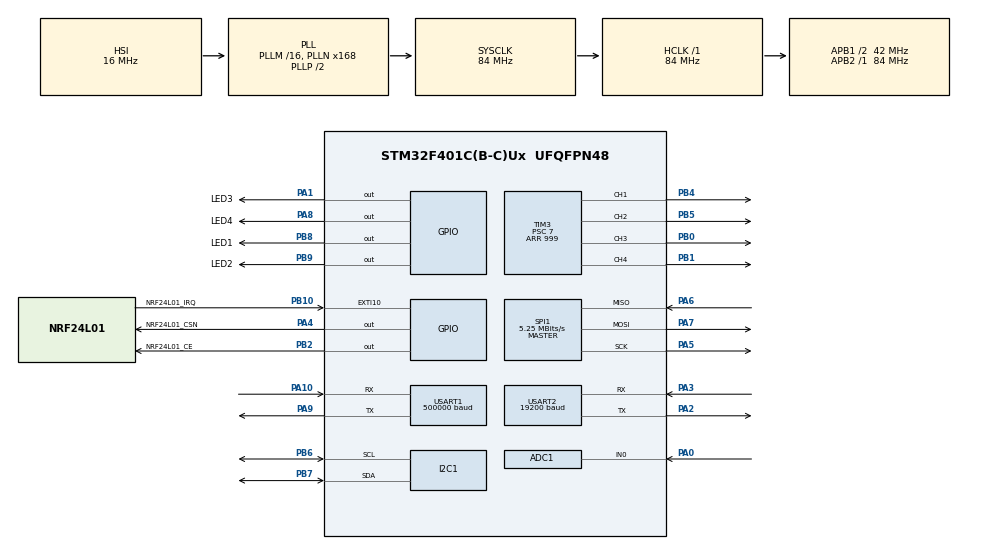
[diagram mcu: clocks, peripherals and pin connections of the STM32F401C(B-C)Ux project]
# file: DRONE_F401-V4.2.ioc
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ADC1.Channel-0\#ChannelRegularConversion=ADC_CHANNEL_0
ADC1.ContinuousConvMode=DISABLE
ADC1.NbrOfConversionFlag=1
ADC1.Rank-0\#ChannelRegularConversion=1
ADC1.SamplingTime-0\#ChannelRegularConversion=ADC_SAMPLETIME_15CYCLES
ADC1.ScanConvMode=DISABLE
ADC1.master=1
Dma.Request0=USART2_RX
Dma.USART2_RX.0.Direction=DMA_PERIPH_TO_MEMORY
Dma.USART2_RX.0.FIFOMode=DMA_FIFOMODE_DISABLE
Dma.USART2_RX.0.Instance=DMA1_Stream5
Dma.USART2_RX.0.MemDataAlignment=DMA_MDATAALIGN_BYTE
Dma.USART2_RX.0.MemInc=DMA_MINC_ENABLE
Dma.USART2_RX.0.Mode=DMA_NORMAL
Dma.USART2_RX.0.PeriphDataAlignment=DMA_PDATAALIGN_BYTE
Dma.USART2_RX.0.PeriphInc=DMA_PINC_DISABLE
Dma.USART2_RX.0.Priority=DMA_PRIORITY_LOW
I2C1.I2C_Mode=I2C_Fast
Mcu.Family=STM32F4
Mcu.Name=STM32F401C(B-C)Ux
Mcu.Package=UFQFPN48
NVIC.ADC_IRQn=true\:0\:0\:false\:false\:true\:true\:true\:true
NVIC.DMA1_Stream5_IRQn=true\:0\:0\:false\:false\:true\:false\:true\:true
NVIC.EXTI15_10_IRQn=true\:0\:0\:false\:false\:true\:true\:true\:true
NVIC.PriorityGroup=NVIC_PRIORITYGROUP_4
NVIC.TIM1_UP_TIM10_IRQn=true\:0\:0\:false\:false\:true\:true\:true\:true
NVIC.USART1_IRQn=true\:0\:0\:false\:false\:true\:true\:true\:true
NVIC.USART2_IRQn=true\:0\:0\:false\:false\:true\:true\:true\:true
PA0-WKUP.Signal=ADCx_IN0
PA1.GPIO_Label=LED3
PA1.Signal=GPIO_Output
PA10.Mode=Asynchronous
PA10.Signal=USART1_RX
PA13.Mode=Serial_Wire
PA13.Signal=SYS_JTMS-SWDIO
PA14.Mode=Serial_Wire
PA14.Signal=SYS_JTCK-SWCLK
PA2.Mode=Asynchronous
PA2.Signal=USART2_TX
PA3.Mode=Asynchronous
PA3.Signal=USART2_RX
PA4.GPIO_Label=NRF24L01_CSN
PA4.GPIO_Speed=GPIO_SPEED_FREQ_HIGH
PA4.PinState=GPIO_PIN_SET
PA4.Signal=GPIO_Output
PA5.Mode=Full_Duplex_Master
PA5.Signal=SPI1_SCK
PA6.Mode=Full_Duplex_Master
PA6.Signal=SPI1_MISO
PA7.Mode=Full_Duplex_Master
PA7.Signal=SPI1_MOSI
PA8.GPIO_Label=LED4
PA8.Signal=GPIO_Output
PA9.Mode=Asynchronous
PA9.Signal=USART1_TX
PB0.Signal=S_TIM3_CH3
PB1.Signal=S_TIM3_CH4
PB10.GPIO_Label=NRF24L01_IRQ
PB10.GPIO_ModeDefaultEXTI=GPIO_MODE_IT_FALLING
PB10.GPIO_PuPd=GPIO_PULLUP
PB10.Signal=GPXTI10
PB2.GPIO_Label=NRF24L01_CE
PB2.PinState=GPIO_PIN_SET
PB2.Signal=GPIO_Output
PB4.Signal=S_TIM3_CH1
PB5.Signal=S_TIM3_CH2
PB6.GPIO_Pu=GPIO_PULLUP
PB6.Mode=I2C
PB6.Signal=I2C1_SCL
PB7.GPIO_Pu=GPIO_PULLUP
PB7.Mode=I2C
PB7.Signal=I2C1_SDA
PB8.GPIO_Label=LED1
PB8.Signal=GPIO_Output
PB9.GPIO_Label=LED2
PB9.Signal=GPIO_Output
PH0\ -\ OSC_IN.Mode=HSE-External-Oscillator
PH0\ -\ OSC_IN.Signal=RCC_OSC_IN
PH1\ -\ OSC_OUT.Mode=HSE-External-Oscillator
PH1\ -\ OSC_OUT.Signal=RCC_OSC_OUT
ProjectManager.HeapSize=0x200
ProjectManager.StackSize=0x400
ProjectManager.TargetToolchain=MDK-ARM V5.32
RCC.48MHZClocksFreq_Value=42000000
RCC.AHBFreq_Value=84000000
RCC.APB1CLKDivider=RCC_HCLK_DIV2
RCC.APB1Freq_Value=42000000
RCC.APB1TimFreq_Value=84000000
RCC.APB2Freq_Value=84000000
RCC.APB2TimFreq_Value=84000000
RCC.CortexFreq_Value=84000000
RCC.HCLKFreq_Value=84000000
RCC.HSE_VALUE=25000000
RCC.HSI_VALUE=16000000
RCC.LSE_VALUE=32768
RCC.PLLN=168
RCC.SYSCLKFreq_VALUE=84000000
RCC.SYSCLKSource=RCC_SYSCLKSOURCE_PLLCLK
RCC.VCOOutputFreq_Value=168000000
SH.ADCx_IN0.0=ADC1_IN0,IN0
SH.S_TIM3_CH1.0=TIM3_CH1,PWM Generation1 CH1
SH.S_TIM3_CH2.0=TIM3_CH2,PWM Generation2 CH2
SH.S_TIM3_CH3.0=TIM3_CH3,PWM Generation3 CH3
SH.S_TIM3_CH4.0=TIM3_CH4,PWM Generation4 CH4
SPI1.BaudRatePrescaler=SPI_BAUDRATEPRESCALER_16
SPI1.CalculateBaudRate=5.25 MBits/s
SPI1.Direction=SPI_DIRECTION_2LINES
SPI1.Mode=SPI_MODE_MASTER
SPI1.VirtualType=VM_MASTER
TIM1.AutoReloadPreload=TIM_AUTORELOAD_PRELOAD_ENABLE
TIM1.Period=60
TIM1.Prescaler=8399
TIM3.AutoReloadPreload=TIM_AUTORELOAD_PRELOAD_ENABLE
TIM3.Channel-PWM\ Generation1\ CH1=TIM_CHANNEL_1
TIM3.Channel-PWM\ Generation2\ CH2=TIM_CHANNEL_2
TIM3.Channel-PWM\ Generation3\ CH3=TIM_CHANNEL_3
TIM3.Channel-PWM\ Generation4\ CH4=TIM_CHANNEL_4
TIM3.Period=999
TIM3.Prescaler=7
TIM3.Pulse-PWM\ Generation1\ CH1=0
USART1.BaudRate=500000
USART1.VirtualMode=VM_ASYNC
USART2.BaudRate=19200
USART2.VirtualMode=VM_ASYNC
VP_TIM1_VS_ClockSourceINT.Mode=Internal
VP_TIM3_VS_ClockSourceINT.Mode=Internal
board=custom

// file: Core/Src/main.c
/* USER CODE BEGIN Header */
/**
  ******************************************************************************
  * @file           : main.c
  * @brief          : Main program body
  ******************************************************************************
  * @attention
  *
  * <h2><center>&copy; Copyright (c) 2021 STMicroelectronics.
  * All rights reserved.</center></h2>
  *
  * This software component is licensed by ST under BSD 3-Clause license,
  * the "License"; You may not use this file except in compliance with the
  * License. You may obtain a copy of the License at:
  *                        opensource.org/licenses/BSD-3-Clause
  *
  ******************************************************************************
  */
/* USER CODE END Header */
#include "main.h"

/* USER CODE BEGIN Includes */
#include "all_define.h"
#include "kalman.h"
#include <string.h>
/* USER CODE END Includes */

ADC_HandleTypeDef hadc1;

I2C_HandleTypeDef hi2c1;

SPI_HandleTypeDef hspi1;

TIM_HandleTypeDef htim1;
TIM_HandleTypeDef htim3;

UART_HandleTypeDef huart1;
UART_HandleTypeDef huart2;
DMA_HandleTypeDef hdma_usart2_rx;

/* USER CODE BEGIN PV */
uint8_t nrf2401_tx_flag=0;
uint8_t nrf2401_txbuf[33]={0xAA,0xAA,0x01,0x06,0x00,0x1D,0xFF,0xCA,0x09,0x1E,0x68};
uint8_t txbuf_pos=0;
extern uint32_t tick_start;
extern uint16_t nrf_cnt;

uint8_t uart1_rxbuf[100];
uint8_t uart1_buf_pos=0;
uint8_t uart1_flag=0;
uint32_t uart1_tick_start=0;

__IO uint8_t uart2_rxbuf[100];
uint8_t uart2_buf_pos=0;
uint8_t uart2_flag=0;
uint32_t uart2_tick_start=0;
float temperature;
float presure;
uint32_t baro_height; //海拔高度 mm
uint16_t voltage;    //电池电压*100后取整
kalman2_state ks;
/* USER CODE END PV */

void SystemClock_Config(void);
static void MX_GPIO_Init(void);
static void MX_DMA_Init(void);
static void MX_I2C1_Init(void);
static void MX_SPI1_Init(void);
static void MX_TIM3_Init(void);
static void MX_TIM1_Init(void);
static void MX_USART2_UART_Init(void);
static void MX_ADC1_Init(void);
static void MX_USART1_UART_Init(void);
/* USER CODE BEGIN PFP */
extern void pid_param_Init(void);
/* USER CODE END PFP */

/* USER CODE BEGIN 0 */
extern uint8_t RC_rxData[32];
//uint8_t cnt_angle=0;
uint8_t SPL06_cnt=0,SPL06_flag=0;
uint8_t volt_cnt=0;
void HAL_TIM_PeriodElapsedCallback(TIM_HandleTypeDef *htim) //定时器TIM1的中断回调函数，每6ms执行1次
{
  if(htim==&htim1)
  {
    #if 1
    __HAL_TIM_CLEAR_IT(&htim1, TIM_IT_UPDATE|TIM_IT_CC1|TIM_IT_CC2|TIM_IT_CC3|TIM_IT_CC4);

    MpuGetData();  //读MPU6050原始数据
    GetAngle(&MPU6050,&Angle,0.006f); //计算姿态角

    FlightPidControl(0.006f);
    MotorControl();

    #endif
    nrf_cnt++;
    //if 600ms没收到遥控器信号,则判断遥控信号丢失，飞控需停止飞行，避免伤人。
    //意外情况下，使用者可紧急关闭遥控电源，飞行器会在此时间后立即关闭，避免伤人。注：遥控器油门打到最低，能立即停机，比关闭遥控电源停机更快。
    //立即关闭遥控，如果在飞行中会直接掉落，可能会损坏飞行器。
    if(nrf_cnt>=100)
    {
      ALL_flag.unlock = 0;
      nrf_cnt=0;
      //LED3_Toggle();
      remote_unlock();
      LED.status = AllFlashLight;
      LED.FlashTime = 300;
    }
    SPL06_cnt++;
    if(SPL06_cnt>10)//读取气压计数据
    {
      SPL06_cnt=0;
      temperature = user_SPL06_001_get_temperature();
      presure = user_SPL06_001_get_presure();
      baro_height = ((uint32_t)((102000.0f- presure) * 78.740f)+5)/10;  //每1mpar平均海拔高度为78.740mm   最后除以10是将mm转为cm

      //对气压计高度和加速度进行卡尔曼滤波融合
			pidHeightRate.measured+=MPU6050.accZ;//存入高度环PID的测量值
			// pidHeightHigh.measured=kalman2_filter(&ks,(float)baro_height,(float)MPU6050.accZ,0.06f);
      pidHeightHigh.measured=kalman_2_Update((float)baro_height,(float)MPU6050.accZ,0.06f);
      SPL06_flag=1;
    }
    volt_cnt++;
    if(volt_cnt>=200)
    {
      HAL_ADC_Start_IT(&hadc1);
      volt_cnt =0;
    }
  }
}

void HAL_GPIO_EXTI_Callback(uint16_t GPIO_Pin)  //NRF2401_IRQ引脚中断回调函数，无线每收到一个数据包，自动执行一次本函数
{
  uint8_t sta;
  if(GPIO_Pin==NRF24L01_IRQ_Pin)
  {
    nrf_cnt = 0;
    sta=NRF24L01_Read_Reg(STATUS);  //读取状态寄存器的值
    if(sta&RX_OK) //收到数据
    {
      //收到遥控器发的数据，进入此函数。（遥控器每隔10ms发送一次数据）
      RC_Analy();
      NRF24L01_Write_Buf(0xa8, nrf2401_txbuf, txbuf_pos); //放入无人机姿态角等状态数据到发送缓冲区，无人机下次收到遥控器的命令返回确认帧时，会附带发送nrf_txbuf数组中长度为txbuf_pos的数据。
      /*清空缓冲区*/
      memset(nrf2401_txbuf,0x00,txbuf_pos);
			txbuf_pos=0;

      // send_char_array(&huart1,nrf2401_txbuf,txbuf_pos);
    }
  }
}

void HAL_ADC_ConvCpltCallback(ADC_HandleTypeDef* hadc)
{
  uint16_t adv;
  adv=HAL_ADC_GetValue(&hadc1);
  voltage=adv*430/4096; //电池电压的100倍，除以100为真实电压
  if (voltage<315)  //电池电压小于3.15V，锁定无人机，LED灯以状态WARNING定义的方式闪烁
  {
    ALL_flag.unlock = 0;
    LED.status =WARNING;
    LED.FlashTime = 500;
  }
}
/* USER CODE END 0 */

int main(void)
{

  /* MCU Configuration--------------------------------------------------------*/

  /* Reset of all peripherals, Initializes the Flash interface and the Systick. */
  HAL_Init();

  /* Configure the system clock */
  SystemClock_Config();

  /* Initialize all configured peripherals */
  MX_GPIO_Init();
  MX_DMA_Init();
  MX_I2C1_Init();
  MX_SPI1_Init();
  MX_TIM3_Init();
  MX_TIM1_Init();
  MX_USART2_UART_Init();
  MX_ADC1_Init();
  MX_USART1_UART_Init();
  /* USER CODE BEGIN 2 */
  LED1_H();
  HAL_NVIC_DisableIRQ(NRF24L01_IRQ_EXTI_IRQn); //在MX_GPIO_Init()函数的末尾开了此中断，先关闭，等NRL24L01初始化完后再开中断
  HAL_GPIO_WritePin(NRF24L01_CE_GPIO_Port, NRF24L01_CE_Pin, GPIO_PIN_RESET);//使能无线通信芯片NRF24L01
  HAL_Delay(100);
  while(SPL06_001_init()!=SUCCESS) printf("error\r\n"); //SPL06初始化
  MpuInit(); //MPU6050初始化

  HAL_TIM_PWM_Start(&htim3,TIM_CHANNEL_1); //启动TIM3的通道1(电机1，右前电机）的PWM输出(引脚PB4)
  HAL_TIM_PWM_Start(&htim3,TIM_CHANNEL_2); //启动TIM3的通道2(电机2，左前电机）的PWM输出(引脚PB5)
  HAL_TIM_PWM_Start(&htim3,TIM_CHANNEL_3); //启动TIM3的通道3(电机3，左后电机）的PWM输出(引脚PB0)
  HAL_TIM_PWM_Start(&htim3,TIM_CHANNEL_4); //启动TIM3的通道4(电机4，右后电机）的PWM输出(引脚PB1)
  __HAL_TIM_CLEAR_IT(&htim1, (TIM_IT_UPDATE|TIM_IT_CC1|TIM_IT_CC2|TIM_IT_CC3|TIM_IT_CC4));//清除TIM1的中断标志位
  HAL_TIM_Base_Start_IT(&htim1);//启动TIM1定时器，MX_TIM1_Init()中已设置TIM1定时时间为6ms
  HAL_UART_Receive_DMA(&huart2,(uint8_t *)uart2_rxbuf,9); //启动串口2的DMA接收数据功能，光流发来的数据自动存放在数组uart2_rxbuf中
  __HAL_UART_ENABLE_IT(&huart2,UART_IT_IDLE);  //使能串口2的空闲中断，光流每40ms发送一组数据(9字节)
  __HAL_UART_ENABLE_IT(&huart1, UART_IT_RXNE); //使能串口1的接收中断，串口接收数据的处理在stm32f4xx_it.c文件USART1_IRQHandler函数中
  while(NRF24L01_Check())//如果检测不到24L01，则在此循环反复检测
  {
    LED1_Toggle();//切换LED1的状态
    HAL_Delay(250);//延时250ms
  }
  pid_param_Init(); //PID参数初始化
  LED1_Toggle();
  RX_Mode();//NRF24L01配置为接收模式
  HAL_ADC_Start_IT(&hadc1); //电池电压AD转换

  NRF24L01_Write_Buf(0xa8, nrf2401_txbuf, 11); //发送缓冲区放入初始数据
  HAL_NVIC_EnableIRQ(NRF24L01_IRQ_EXTI_IRQn); //使能此中断本来在MX_GPIO_Init()函数的末尾，移到此等NRL24L01初始化完后再开中断

  kalman2_init(&ks,0.06f);
  /* USER CODE END 2 */

  /* Infinite loop */
  /* USER CODE BEGIN WHILE */
  while (1)
  {
#if 1
    ANTO_polling();   //匿名上位机
    PilotLED();       //LED刷新
    // printf("Remote.thr:%d,Remote.AUX6:%d,Remote.AUX5:%d \r\n",Remote.thr,Remote.AUX6,Remote.AUX5);

    if(uart1_flag)
    {
      uart1_flag=0;
      //send_char_array(&huart1,uart1_rxbuf,uart1_buf_pos);
      uart1_buf_pos=0;
    }
    if(uart2_flag)
    {
      uart2_flag=0;
      //flow_decode();
      //send_char_array(&huart1,(uint8_t *)uart2_rxbuf,9);//uart2_buf_pos);
      uart2_buf_pos=0;
    }

    if(SPL06_flag)
    {
      SPL06_flag=0;

      // printf("温度：%3.2f  气压：%6.2f  海拔：%6d cm\r\n",temperature,presure,baro_height);

    }
    // printf("%f,%d\r\n",pidHeightHigh.measured,baro_height);

    /* USER CODE END WHILE */

    /* USER CODE BEGIN 3 */
  }
#endif
  /* USER CODE END 3 */
}

void SystemClock_Config(void)
{
  RCC_OscInitTypeDef RCC_OscInitStruct = {0};
  RCC_ClkInitTypeDef RCC_ClkInitStruct = {0};

  /** Configure the main internal regulator output voltage
  */
  __HAL_RCC_PWR_CLK_ENABLE();
  __HAL_PWR_VOLTAGESCALING_CONFIG(PWR_REGULATOR_VOLTAGE_SCALE2);

  /** Initializes the RCC Oscillators according to the specified parameters
  * in the RCC_OscInitTypeDef structure.
  */
  RCC_OscInitStruct.OscillatorType = RCC_OSCILLATORTYPE_HSI;
  RCC_OscInitStruct.HSIState = RCC_HSI_ON;
  RCC_OscInitStruct.HSICalibrationValue = RCC_HSICALIBRATION_DEFAULT;
  RCC_OscInitStruct.PLL.PLLState = RCC_PLL_ON;
  RCC_OscInitStruct.PLL.PLLSource = RCC_PLLSOURCE_HSI;
  RCC_OscInitStruct.PLL.PLLM = 16;
  RCC_OscInitStruct.PLL.PLLN = 168;
  RCC_OscInitStruct.PLL.PLLP = RCC_PLLP_DIV2;
  RCC_OscInitStruct.PLL.PLLQ = 4;
  if (HAL_RCC_OscConfig(&RCC_OscInitStruct) != HAL_OK)
  {
    Error_Handler();
  }

  /** Initializes the CPU, AHB and APB buses clocks
  */
  RCC_ClkInitStruct.ClockType = RCC_CLOCKTYPE_HCLK|RCC_CLOCKTYPE_SYSCLK
                              |RCC_CLOCKTYPE_PCLK1|RCC_CLOCKTYPE_PCLK2;
  RCC_ClkInitStruct.SYSCLKSource = RCC_SYSCLKSOURCE_PLLCLK;
  RCC_ClkInitStruct.AHBCLKDivider = RCC_SYSCLK_DIV1;
  RCC_ClkInitStruct.APB1CLKDivider = RCC_HCLK_DIV2;
  RCC_ClkInitStruct.APB2CLKDivider = RCC_HCLK_DIV1;

  if (HAL_RCC_ClockConfig(&RCC_ClkInitStruct, FLASH_LATENCY_2) != HAL_OK)
  {
    Error_Handler();
  }
}

static void MX_ADC1_Init(void)
{

  ADC_ChannelConfTypeDef sConfig = {0};

  /** Configure the global features of the ADC (Clock, Resolution, Data Alignment and number of conversion)
  */
  hadc1.Instance = ADC1;
  hadc1.Init.ClockPrescaler = ADC_CLOCK_SYNC_PCLK_DIV4;
  hadc1.Init.Resolution = ADC_RESOLUTION_12B;
  hadc1.Init.ScanConvMode = DISABLE;
  hadc1.Init.ContinuousConvMode = DISABLE;
  hadc1.Init.DiscontinuousConvMode = DISABLE;
  hadc1.Init.ExternalTrigConvEdge = ADC_EXTERNALTRIGCONVEDGE_NONE;
  hadc1.Init.ExternalTrigConv = ADC_SOFTWARE_START;
  hadc1.Init.DataAlign = ADC_DATAALIGN_RIGHT;
  hadc1.Init.NbrOfConversion = 1;
  hadc1.Init.DMAContinuousRequests = DISABLE;
  hadc1.Init.EOCSelection = ADC_EOC_SINGLE_CONV;
  if (HAL_ADC_Init(&hadc1) != HAL_OK)
  {
    Error_Handler();
  }

  /** Configure for the selected ADC regular channel its corresponding rank in the sequencer and its sample time.
  */
  sConfig.Channel = ADC_CHANNEL_0;
  sConfig.Rank = 1;
  sConfig.SamplingTime = ADC_SAMPLETIME_15CYCLES;
  if (HAL_ADC_ConfigChannel(&hadc1, &sConfig) != HAL_OK)
  {
    Error_Handler();
  }

}

static void MX_I2C1_Init(void)
{

  hi2c1.Instance = I2C1;
  hi2c1.Init.ClockSpeed = 400000;
  hi2c1.Init.DutyCycle = I2C_DUTYCYCLE_2;
  hi2c1.Init.OwnAddress1 = 0;
  hi2c1.Init.AddressingMode = I2C_ADDRESSINGMODE_7BIT;
  hi2c1.Init.DualAddressMode = I2C_DUALADDRESS_DISABLE;
  hi2c1.Init.OwnAddress2 = 0;
  hi2c1.Init.GeneralCallMode = I2C_GENERALCALL_DISABLE;
  hi2c1.Init.NoStretchMode = I2C_NOSTRETCH_DISABLE;
  if (HAL_I2C_Init(&hi2c1) != HAL_OK)
  {
    Error_Handler();
  }

}

static void MX_SPI1_Init(void)
{

  /* SPI1 parameter configuration*/
  hspi1.Instance = SPI1;
  hspi1.Init.Mode = SPI_MODE_MASTER;
  hspi1.Init.Direction = SPI_DIRECTION_2LINES;
  hspi1.Init.DataSize = SPI_DATASIZE_8BIT;
  hspi1.Init.CLKPolarity = SPI_POLARITY_LOW;
  hspi1.Init.CLKPhase = SPI_PHASE_1EDGE;
  hspi1.Init.NSS = SPI_NSS_SOFT;
  hspi1.Init.BaudRatePrescaler = SPI_BAUDRATEPRESCALER_16;
  hspi1.Init.FirstBit = SPI_FIRSTBIT_MSB;
  hspi1.Init.TIMode = SPI_TIMODE_DISABLE;
  hspi1.Init.CRCCalculation = SPI_CRCCALCULATION_DISABLE;
  hspi1.Init.CRCPolynomial = 10;
  if (HAL_SPI_Init(&hspi1) != HAL_OK)
  {
    Error_Handler();
  }

}

static void MX_TIM1_Init(void)
{

  TIM_ClockConfigTypeDef sClockSourceConfig = {0};
  TIM_MasterConfigTypeDef sMasterConfig = {0};

  htim1.Instance = TIM1;
  htim1.Init.Prescaler = 8399;
  htim1.Init.CounterMode = TIM_COUNTERMODE_UP;
  htim1.Init.Period = 60;
  htim1.Init.ClockDivision = TIM_CLOCKDIVISION_DIV1;
  htim1.Init.RepetitionCounter = 0;
  htim1.Init.AutoReloadPreload = TIM_AUTORELOAD_PRELOAD_ENABLE;
  if (HAL_TIM_Base_Init(&htim1) != HAL_OK)
  {
    Error_Handler();
  }
  sClockSourceConfig.ClockSource = TIM_CLOCKSOURCE_INTERNAL;
  if (HAL_TIM_ConfigClockSource(&htim1, &sClockSourceConfig) != HAL_OK)
  {
    Error_Handler();
  }
  sMasterConfig.MasterOutputTrigger = TIM_TRGO_RESET;
  sMasterConfig.MasterSlaveMode = TIM_MASTERSLAVEMODE_DISABLE;
  if (HAL_TIMEx_MasterConfigSynchronization(&htim1, &sMasterConfig) != HAL_OK)
  {
    Error_Handler();
  }
  /* USER CODE BEGIN TIM1_Init 2 */
  __HAL_TIM_SET_COMPARE(&htim1,TIM_CHANNEL_1,65535);
  __HAL_TIM_SET_COMPARE(&htim1,TIM_CHANNEL_2,65535);
  __HAL_TIM_SET_COMPARE(&htim1,TIM_CHANNEL_3,65535);
  __HAL_TIM_SET_COMPARE(&htim1,TIM_CHANNEL_4,65535);
  /* USER CODE END TIM1_Init 2 */

}

static void MX_TIM3_Init(void)
{

  TIM_ClockConfigTypeDef sClockSourceConfig = {0};
  TIM_MasterConfigTypeDef sMasterConfig = {0};
  TIM_OC_InitTypeDef sConfigOC = {0};

  htim3.Instance = TIM3;
  htim3.Init.Prescaler = 7;
  htim3.Init.CounterMode = TIM_COUNTERMODE_UP;
  htim3.Init.Period = 999;
  htim3.Init.ClockDivision = TIM_CLOCKDIVISION_DIV1;
  htim3.Init.AutoReloadPreload = TIM_AUTORELOAD_PRELOAD_ENABLE;
  if (HAL_TIM_Base_Init(&htim3) != HAL_OK)
  {
    Error_Handler();
  }
  sClockSourceConfig.ClockSource = TIM_CLOCKSOURCE_INTERNAL;
  if (HAL_TIM_ConfigClockSource(&htim3, &sClockSourceConfig) != HAL_OK)
  {
    Error_Handler();
  }
  if (HAL_TIM_PWM_Init(&htim3) != HAL_OK)
  {
    Error_Handler();
  }
  sMasterConfig.MasterOutputTrigger = TIM_TRGO_RESET;
  sMasterConfig.MasterSlaveMode = TIM_MASTERSLAVEMODE_DISABLE;
  if (HAL_TIMEx_MasterConfigSynchronization(&htim3, &sMasterConfig) != HAL_OK)
  {
    Error_Handler();
  }
  sConfigOC.OCMode = TIM_OCMODE_PWM1;
  sConfigOC.Pulse = 0;
  sConfigOC.OCPolarity = TIM_OCPOLARITY_HIGH;
  sConfigOC.OCFastMode = TIM_OCFAST_DISABLE;
  if (HAL_TIM_PWM_ConfigChannel(&htim3, &sConfigOC, TIM_CHANNEL_1) != HAL_OK)
  {
    Error_Handler();
  }
  if (HAL_TIM_PWM_ConfigChannel(&htim3, &sConfigOC, TIM_CHANNEL_2) != HAL_OK)
  {
    Error_Handler();
  }
  if (HAL_TIM_PWM_ConfigChannel(&htim3, &sConfigOC, TIM_CHANNEL_3) != HAL_OK)
  {
    Error_Handler();
  }
  if (HAL_TIM_PWM_ConfigChannel(&htim3, &sConfigOC, TIM_CHANNEL_4) != HAL_OK)
  {
    Error_Handler();
  }
  HAL_TIM_MspPostInit(&htim3);

}

static void MX_USART1_UART_Init(void)
{

  huart1.Instance = USART1;
  huart1.Init.BaudRate = 500000;
  huart1.Init.WordLength = UART_WORDLENGTH_8B;
  huart1.Init.StopBits = UART_STOPBITS_1;
  huart1.Init.Parity = UART_PARITY_NONE;
  huart1.Init.Mode = UART_MODE_TX_RX;
  huart1.Init.HwFlowCtl = UART_HWCONTROL_NONE;
  huart1.Init.OverSampling = UART_OVERSAMPLING_16;
  if (HAL_UART_Init(&huart1) != HAL_OK)
  {
    Error_Handler();
  }

}

static void MX_USART2_UART_Init(void)
{

  huart2.Instance = USART2;
  huart2.Init.BaudRate = 19200;
  huart2.Init.WordLength = UART_WORDLENGTH_8B;
  huart2.Init.StopBits = UART_STOPBITS_1;
  huart2.Init.Parity = UART_PARITY_NONE;
  huart2.Init.Mode = UART_MODE_TX_RX;
  huart2.Init.HwFlowCtl = UART_HWCONTROL_NONE;
  huart2.Init.OverSampling = UART_OVERSAMPLING_16;
  if (HAL_UART_Init(&huart2) != HAL_OK)
  {
    Error_Handler();
  }

}

static void MX_DMA_Init(void)
{

  /* DMA controller clock enable */
  __HAL_RCC_DMA1_CLK_ENABLE();

  /* DMA interrupt init */
  /* DMA1_Stream5_IRQn interrupt configuration */
  HAL_NVIC_SetPriority(DMA1_Stream5_IRQn, 0, 0);
  HAL_NVIC_EnableIRQ(DMA1_Stream5_IRQn);

}

static void MX_GPIO_Init(void)
{
  GPIO_InitTypeDef GPIO_InitStruct = {0};

  /* GPIO Ports Clock Enable */
  __HAL_RCC_GPIOC_CLK_ENABLE();
  __HAL_RCC_GPIOH_CLK_ENABLE();
  __HAL_RCC_GPIOA_CLK_ENABLE();
  __HAL_RCC_GPIOB_CLK_ENABLE();

  /*Configure GPIO pin Output Level */
  HAL_GPIO_WritePin(GPIOA, LED3_Pin|LED4_Pin, GPIO_PIN_RESET);

  /*Configure GPIO pin Output Level */
  HAL_GPIO_WritePin(NRF24L01_CSN_GPIO_Port, NRF24L01_CSN_Pin, GPIO_PIN_SET);

  /*Configure GPIO pin Output Level */
  HAL_GPIO_WritePin(NRF24L01_CE_GPIO_Port, NRF24L01_CE_Pin, GPIO_PIN_SET);

  /*Configure GPIO pin Output Level */
  HAL_GPIO_WritePin(GPIOB, LED1_Pin|LED2_Pin, GPIO_PIN_RESET);

  /*Configure GPIO pins : PC13 PC14 PC15 */
  GPIO_InitStruct.Pin = GPIO_PIN_13|GPIO_PIN_14|GPIO_PIN_15;
  GPIO_InitStruct.Mode = GPIO_MODE_ANALOG;
  GPIO_InitStruct.Pull = GPIO_NOPULL;
  HAL_GPIO_Init(GPIOC, &GPIO_InitStruct);

  /*Configure GPIO pins : LED3_Pin LED4_Pin */
  GPIO_InitStruct.Pin = LED3_Pin|LED4_Pin;
  GPIO_InitStruct.Mode = GPIO_MODE_OUTPUT_PP;
  GPIO_InitStruct.Pull = GPIO_NOPULL;
  GPIO_InitStruct.Speed = GPIO_SPEED_FREQ_LOW;
  HAL_GPIO_Init(GPIOA, &GPIO_InitStruct);

  /*Configure GPIO pin : NRF24L01_CSN_Pin */
  GPIO_InitStruct.Pin = NRF24L01_CSN_Pin;
  GPIO_InitStruct.Mode = GPIO_MODE_OUTPUT_PP;
  GPIO_InitStruct.Pull = GPIO_NOPULL;
  GPIO_InitStruct.Speed = GPIO_SPEED_FREQ_HIGH;
  HAL_GPIO_Init(NRF24L01_CSN_GPIO_Port, &GPIO_InitStruct);

  /*Configure GPIO pins : NRF24L01_CE_Pin LED1_Pin LED2_Pin */
  GPIO_InitStruct.Pin = NRF24L01_CE_Pin|LED1_Pin|LED2_Pin;
  GPIO_InitStruct.Mode = GPIO_MODE_OUTPUT_PP;
  GPIO_InitStruct.Pull = GPIO_NOPULL;
  GPIO_InitStruct.Speed = GPIO_SPEED_FREQ_LOW;
  HAL_GPIO_Init(GPIOB, &GPIO_InitStruct);

  /*Configure GPIO pin : NRF24L01_IRQ_Pin */
  GPIO_InitStruct.Pin = NRF24L01_IRQ_Pin;
  GPIO_InitStruct.Mode = GPIO_MODE_IT_FALLING;
  GPIO_InitStruct.Pull = GPIO_PULLUP;
  HAL_GPIO_Init(NRF24L01_IRQ_GPIO_Port, &GPIO_InitStruct);

  /*Configure GPIO pins : PB12 PB13 PB14 PB15
                           PB3 */
  GPIO_InitStruct.Pin = GPIO_PIN_12|GPIO_PIN_13|GPIO_PIN_14|GPIO_PIN_15
                          |GPIO_PIN_3;
  GPIO_InitStruct.Mode = GPIO_MODE_ANALOG;
  GPIO_InitStruct.Pull = GPIO_NOPULL;
  HAL_GPIO_Init(GPIOB, &GPIO_InitStruct);

  /*Configure GPIO pins : PA11 PA12 PA15 */
  GPIO_InitStruct.Pin = GPIO_PIN_11|GPIO_PIN_12|GPIO_PIN_15;
  GPIO_InitStruct.Mode = GPIO_MODE_ANALOG;
  GPIO_InitStruct.Pull = GPIO_NOPULL;
  HAL_GPIO_Init(GPIOA, &GPIO_InitStruct);

  /* EXTI interrupt init*/
  HAL_NVIC_SetPriority(EXTI15_10_IRQn, 0, 0);
  HAL_NVIC_EnableIRQ(EXTI15_10_IRQn);

}

void Error_Handler(void)
{
  __disable_irq();
  while (1)
  {
  }
}
